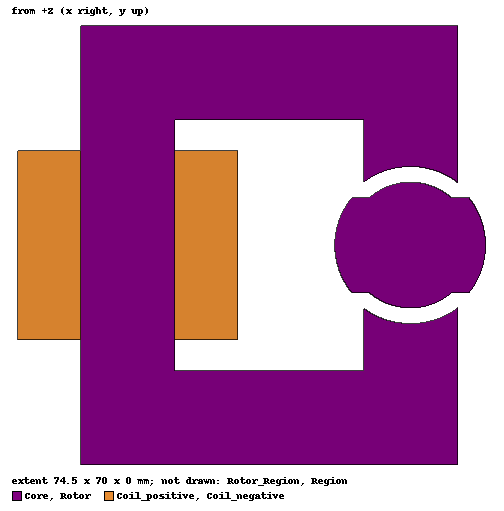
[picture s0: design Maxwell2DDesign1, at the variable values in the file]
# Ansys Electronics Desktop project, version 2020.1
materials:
  vacuum: permittivity=1
  steel_1008: permeability{HUnit=A_per_meter BUnit=tesla curve (0, 0) (159.2, 0.2402) (318.3, 0.8654) (477.5, 1.1106) (636.6, 1.2458) (795.8, 1.331) (1591.5, 1.5) (3183.1, 1.6) (4774.6, 1.683) (6366.2, 1.741) (7957.7, 1.78) (15915.5, 1.905) (31831, 2.025) (47746.5, 2.085) (63662, 2.13) (79577.5, 2.165) (159155, 2.28) (318310, 2.485) (397887, 2.5851)} conductivity=2000000
  copper: permeability=0.999991 conductivity=58000000
  air: permittivity=1.0006 permeability=1.0000004

design Maxwell2DDesign1 (Maxwell 2D, Magnetostatic, XY geometry, model units mm)
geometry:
  Rectangle1 = rectangle(corner=(-52.5mm, -35mm, 0mm), x_size=15mm, y_size=35mm)
  Rectangle2 = rectangle(corner=(-37.5mm, -35mm, 0mm), x_size=45mm, y_size=15mm)
  Rectangle3 = rectangle(corner=(-7.5mm, -20mm, 0mm), x_size=15mm, y_size=20mm)
  Rectangle1.unite(Rectangle2, Rectangle3)
  Core [steel_1008] = Rectangle1.duplicate_mirror(point=(-22mm, 0mm, 0mm), normal=(0mm, 1mm, 0mm))
  Core.unite(Rectangle1)
  Circle1 = circle(normal=Z, centre=(0mm, 0mm, 0mm), radius=12.5mm)
  Core.subtract(Circle1)
  Rotor [steel_1008] = circle(normal=Z, centre=(0mm, 0mm, 0mm), radius=10mm)
  Coil_positive [copper] = rectangle(corner=(-62.5mm, -15mm, 0mm), x_size=10mm, y_size=30mm)
  Coil_negative [copper] = rectangle(corner=(-37.5mm, -15mm, 0mm), x_size=10mm, y_size=30mm)
  Rectangle6 = rectangle(corner=(-7.5mm, -12mm, 0mm), x_size=15mm, y_size=24mm)
  Circle3 = circle(normal=Z, centre=(0mm, 0mm, 0mm), radius=12mm)
  Rectangle6.intersect(Circle3)
  Rotor.unite(Rectangle6)
  Rotor.rotate(axis=Z, angle=90deg)
  Region [air] = region(percentage_offset: +X=100, -X=100, +Y=100, -Y=100, +Z=0, -Z=0)
  Rotor_Region [vacuum] = circle(normal=Z, centre=(0mm, 0mm, 0mm), radius=12.25mm)
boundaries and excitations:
  Balloon1: Balloon Edges=Region.edge(all 4)
  Current_positive: Current Objects=Coil_positive Current=750A IsPositive=true
  Current_negative: Current Objects=Coil_negative Current=750A IsPositive=false
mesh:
  Rotating_Region_Length: LengthBased RefineInside Objects=Rotor_Region NumMaxElem=5000
  Coil_Positive_Length: LengthBased RefineInside Objects=Coil_positive NumMaxElem=100
  Coil_Negative_Length: LengthBased RefineInside Objects=Coil_negative NumMaxElem=100
  Rotor_Length: LengthBased RefineInside Objects=Rotor NumMaxElem=1000
  Core_Length: LengthBased RefineInside Objects=Core NumMaxElem=1000
  Background_Length: LengthBased RefineInside Objects=Region NumMaxElem=1000
  initial mesh: MeshMethod=AnsoftTAU
